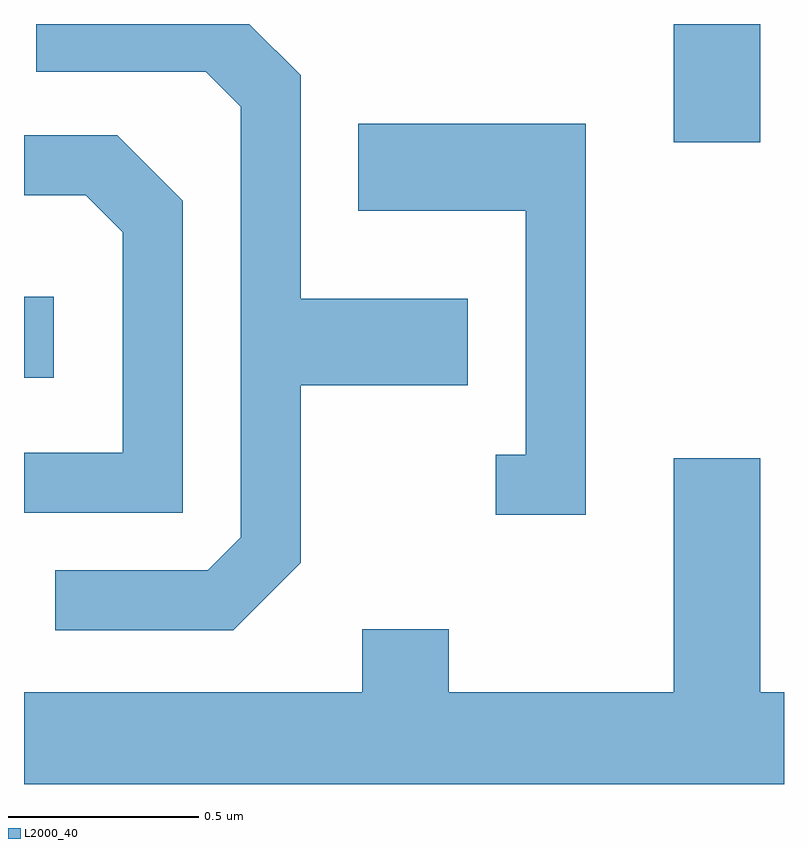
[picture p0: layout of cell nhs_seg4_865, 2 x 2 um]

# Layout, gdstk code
import gdstk
lib = gdstk.Library(unit=1e-6, precision=1e-09)
def R(c, l, rs):  # rectangles x0, y0, x1, y1
    for r in rs: c.add(gdstk.rectangle(r[:2], r[2:], *l))
def P(c, l, *ps):  # polygons
    for p in ps: c.add(gdstk.Polygon(p, *l))
L2000_40 = (2000, 40)

nhs_seg4_865 = lib.new_cell('nhs_seg4_865')
R(nhs_seg4_865, L2000_40, [(191.611,1298.051,191.689,1298.264), (193.321,1298.671,193.549,1298.982)])
P(nhs_seg4_865, L2000_40, [(192.339,1297.564),(192.339,1298.031),(192.779,1298.031),(192.779,1298.259),(192.339,1298.259),(192.339,1298.847),(192.204,1298.982),(191.643,1298.982),(191.643,1298.856),(192.089,1298.856),(192.181,1298.764),(192.181,1297.632),(192.094,1297.544),(191.693,1297.544),(191.693,1297.386),(192.162,1297.386)],
  [(193.089,1298.719),(192.491,1298.719),(192.491,1298.491),(192.931,1298.491),(192.931,1297.849),(192.853,1297.849),(192.853,1297.691),(193.089,1297.691)],
  [(192.029,1298.517),(191.857,1298.689),(191.611,1298.689),(191.611,1298.531),(191.774,1298.531),(191.871,1298.434),(191.871,1297.854),(191.611,1297.854),(191.611,1297.696),(192.029,1297.696)],
  [(193.611,1297.224),(193.549,1297.224),(193.549,1297.839),(193.321,1297.839),(193.321,1297.224),(192.729,1297.224),(192.729,1297.389),(192.501,1297.389),(192.501,1297.224),(191.611,1297.224),(191.611,1296.982),(193.611,1296.982)])

lib.write_gds('nhs_seg4_865.gds')
